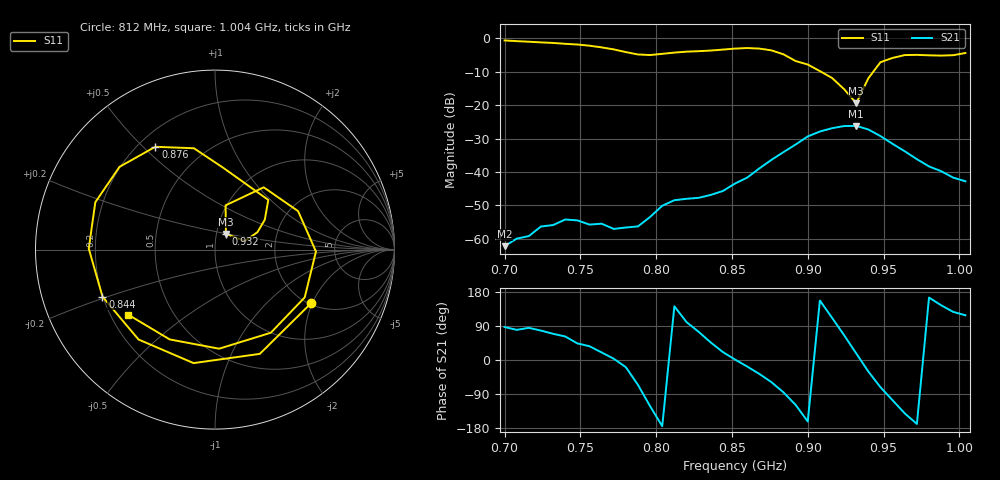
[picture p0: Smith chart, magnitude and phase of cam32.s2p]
# Hz S RI R 50
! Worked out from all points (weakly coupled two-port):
!   39 points, 700 MHz to 1.004 GHz, reference 50 ohm
!   highest |S21| = -26.19 dB at 932 MHz (marker M1); lowest = -62.2 dB at 700 MHz (marker M2)
!   lowest |S11| = -19.4 dB at 932 MHz (marker M3), VSWR 1.24, Z = 55.6 + j9.88 ohm
!   |S11| at or under -10 dB: 908.8 MHz to 943.2 MHz (34.4 MHz wide, 3.71 % of centre)
!   S12 and S22 are empty: the file has one direction only
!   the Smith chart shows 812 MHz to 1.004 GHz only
!   S11 on the Smith chart (normalised r, x): 812 MHz: 2.05, -1.96; 844 MHz: 0.20, -0.19; 876 MHz: 0.27, +0.54; 932 MHz: 1.11, +0.20; 1.004 GHz: 0.27, -0.31
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7e8  0.7678 0.5269  4.08e-05 0.000774  0 0  0 0
7.24e8  0.8323 -0.2569  0.000329 0.00149  0 0  0 0
7.4e8  0.4436 -0.7005  0.000911 0.00172  0 0  0 0
7.56e8  -0.1968 -0.7521  0.00131 0.000966  0 0  0 0
7.72e8  -0.6568 -0.1915  0.0014 8.31e-05  0 0  0 0
7.8e8  -0.579 0.2308  0.00139 -0.000478  0 0  0 0
7.88e8  -0.2248 0.5285  0.000627 -0.0014  0 0  0 0
7.96e8  0.2575 0.5007  -0.00113 -0.0018  0 0  0 0
8.04e8  0.5686 0.1451  -0.00311 -0.000289  0 0  0 0
8.12e8  0.5354 -0.2988  -0.00297 0.00234  0 0  0 0
8.28e8  -0.1194 -0.6324  0.0011 0.00395  0 0  0 0
8.44e8  -0.6268 -0.2622  0.00485 0.00186  0 0  0 0
8.52e8  -0.7033 0.00545  0.00671 0.000142  0 0  0 0
8.76e8  -0.3324 0.5728  0.00796 -0.0129  0 0  0 0
9e8  0.297 0.2767  -0.0325 -0.0104  0 0  0 0
9.08e8  0.2775 0.1669  -0.0371 0.0158  0 0  0 0
9.32e8  0.0611 0.0878  0.0468 0.0146  0 0  0 0
9.48e8  0.2713 0.347  0.0106 -0.0328  0 0  0 0
9.56e8  0.463 0.2143  -0.00745 -0.0252  0 0  0 0
9.64e8  0.5625 -0.0106  -0.0158 -0.0129  0 0  0 0
9.8e8  0.3111 -0.4632  -0.0117 0.00321  0 0  0 0
1.004e9  -0.4837 -0.3625  -0.00341 0.00641  0 0  0 0
